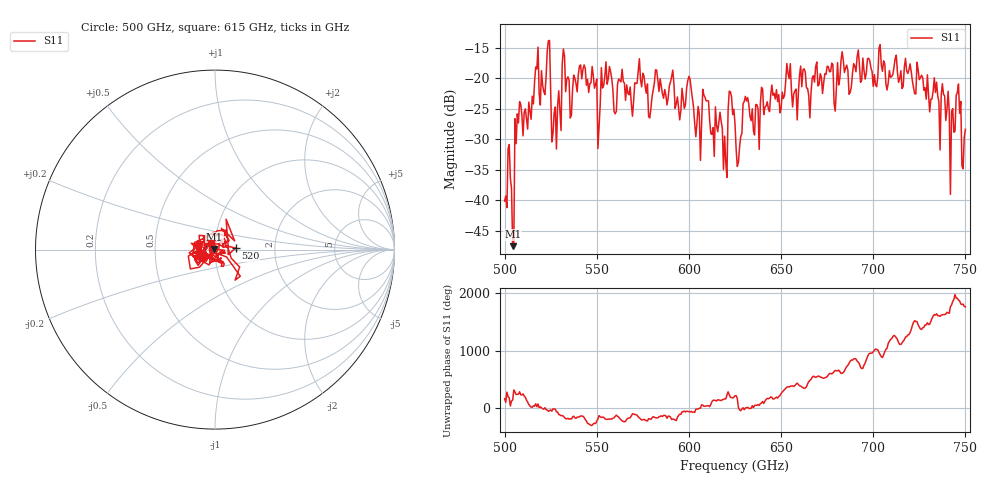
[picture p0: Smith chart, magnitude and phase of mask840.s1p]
!Created with skrf (http://scikit-rf.org).
# GHz S MA R 50.0
!freq magS11 angS11
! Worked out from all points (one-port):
!   401 points, 500 GHz to 750 GHz, reference 50 ohm
!   lowest |S11| = -47.5 dB at 504.4 GHz (marker M1), VSWR 1.01, Z = 49.7 + j0.278 ohm
!   |S11| at or under -10 dB: start of sweep to end of sweep
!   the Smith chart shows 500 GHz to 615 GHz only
!   S11 on the Smith chart (normalised r, x): 500 GHz: 0.98, +0.01; 520 GHz: 1.26, +0.02; 615 GHz: 0.95, +0.07
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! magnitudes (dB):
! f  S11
! 500 GHz  -40.1
! 504.4 GHz  -47.5
! 508.1 GHz  -23.8
! 520 GHz  -18.7
! 523.8 GHz  -13.8
! 526.9 GHz  -25.7
! 531.2 GHz  -17.7
! 542.5 GHz  -18.5
! 550.6 GHz  -31.5
! 553.8 GHz  -21.2
! 562.5 GHz  -20.3
! 590.6 GHz  -19.7
! 593.8 GHz  -23.0
! 600 GHz  -19.7
! 605 GHz  -24.6
! 608.8 GHz  -23.1
! 615 GHz  -27.7
! 619.4 GHz  -29.5
! 623.1 GHz  -23.0
! 625 GHz  -27.5
! 627.5 GHz  -31.2
! 630.6 GHz  -23.0
! 656.2 GHz  -24.7
! 687.5 GHz  -22.3
! 718.8 GHz  -19.2
! 743.1 GHz  -25.0
! 746.2 GHz  -20.9
! 750 GHz  -28.4
